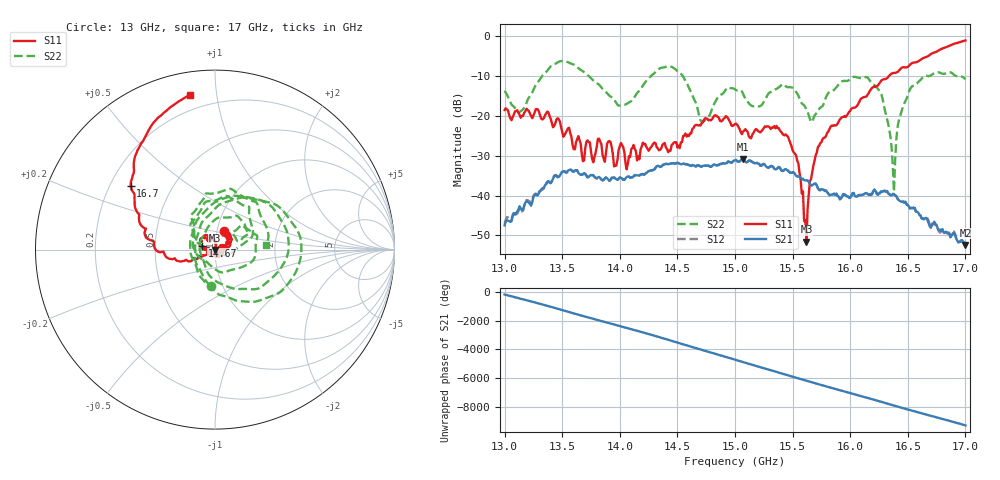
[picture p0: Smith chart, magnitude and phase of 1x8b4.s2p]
!Keysight Technologies,P9374A,MY57211807,A.19.30.04
!Date: Friday, May 08, 2026 14:23:51
!Correction: S11(C  2-Port  )
!S21(C  2-Port  )
!S12(C  2-Port  )
!S22(C  2-Port  )
!S2P File: Measurements: S11, S21, S12, S22:
# Hz S  dB  R 50
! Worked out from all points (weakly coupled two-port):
!   401 points, 13 GHz to 17 GHz, reference 50 ohm
!   highest |S21| = -30.91 dB at 15.07 GHz (marker M1); lowest = -52.4 dB at 17 GHz (marker M2)
!   lowest |S11| = -51.6 dB at 15.62 GHz (marker M3), VSWR 1.01, Z = 49.8 - j0.208 ohm
!   |S11| at or under -10 dB: start of sweep to 16.34 GHz
!   |S22| runs from -39.0 to -6.3 dB; largest |S21 - S12| = 0.00091
!   S11 on the Smith chart (normalised r, x): 13 GHz: 1.08, +0.23; 14.67 GHz: 0.86, +0.04; 16.7 GHz: 0.29, +0.31; 17 GHz: 0.12, +0.84
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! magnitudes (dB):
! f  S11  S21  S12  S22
! 13 GHz  -18.6  -47.5  -47.0  -13.8
! 13.13 GHz  -19.8  -42.7  -43.1  -19.1
! 13.42 GHz  -22.9  -35.8  -35.6  -7.3
! 13.67 GHz  -29.6  -34.8  -34.7  -8.7
! 14 GHz  -27.6  -35.5  -35.5  -17.5
! 14.34 GHz  -28.7  -32.7  -32.7  -8.3
! 14.53 GHz  -26.7  -32.2  -32.1  -9.5
! 14.67 GHz  -22.3  -32.5  -32.5  -17.7
! 15 GHz  -22.1  -31.2  -31.2  -13.4
! 15.07 GHz  -24.0  -30.9  -30.9  -14.5
! 15.46 GHz  -25.3  -33.8  -33.7  -12.9
! 15.62 GHz  -51.6  -36.2  -36.3  -18.4
! 15.67 GHz  -34.3  -37.4  -37.5  -21.5
! 15.82 GHz  -23.3  -39.9  -39.9  -14.1
! 16.14 GHz  -15.2  -39.4  -39.3  -10.3
! 16.26 GHz  -11.7  -39.4  -39.2  -14.0
! 16.34 GHz  -10.0  -39.6  -39.7  -23.6
! 16.38 GHz  -9.3  -39.6  -39.8  -39.0
! 16.43 GHz  -8.5  -41.3  -41.3  -20.5
! 16.51 GHz  -7.5  -42.8  -42.7  -14.1
! 16.7 GHz  -4.6  -48.1  -47.9  -9.9
! 17 GHz  -1.2  -52.4  -52.7  -10.9
